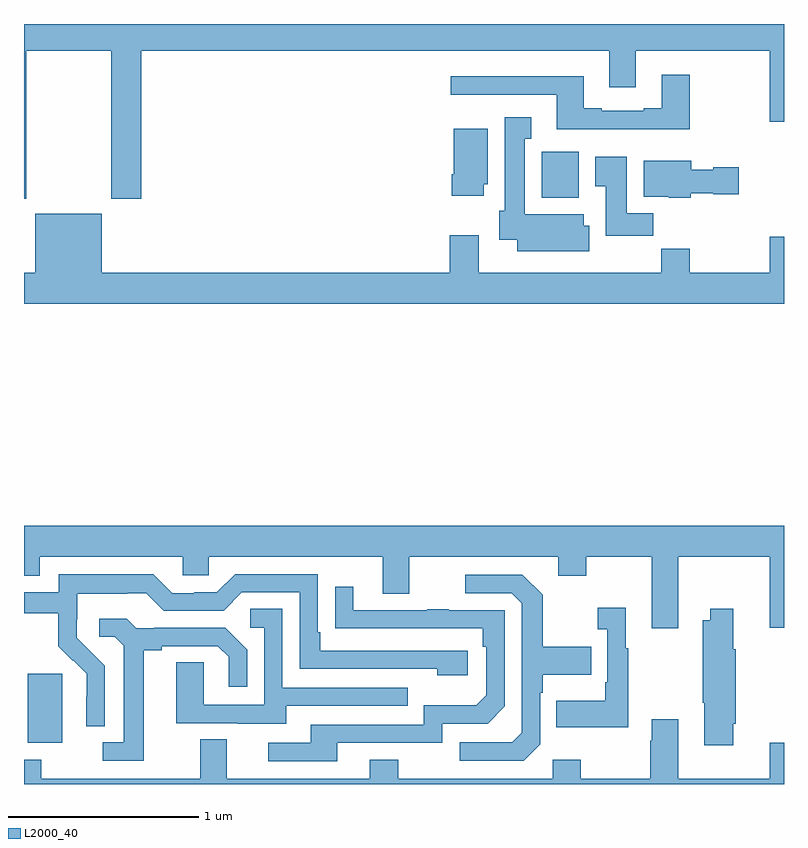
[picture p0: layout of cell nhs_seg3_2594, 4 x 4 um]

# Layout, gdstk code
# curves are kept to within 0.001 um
import gdstk
lib = gdstk.Library(unit=1e-6, precision=1e-09)
def R(c, l, rs):  # rectangles x0, y0, x1, y1
    for r in rs: c.add(gdstk.rectangle(r[:2], r[2:], *l))
def P(c, l, *ps):  # polygons
    for p in ps: c.add(gdstk.Polygon(p, *l))
L2000_40 = (2000, 40)

nhs_seg3_2594 = lib.new_cell('nhs_seg3_2594')
R(nhs_seg3_2594, L2000_40, [(245.021,686.618,245.2,686.979), (247.724,689.486,247.921,689.728)])
P(nhs_seg3_2594, L2000_40, [(245.013,690.26),(245.458,690.26),(245.458,689.481),(245.618,689.481),(245.618,690.26),(248.081,690.26),(248.081,690.066),(248.221,690.066),(248.221,690.26),(248.924,690.26),(248.924,689.886),(249,689.886),(249,690.4),(245,690.4),(245,689.481),(245.013,689.481)],
  [(248.505,690.133),(248.357,690.133),(248.357,689.956),(248.261,689.956),(248.261,689.943),(248.041,689.943),(248.041,689.956),(247.945,689.956),(247.945,690.124),(247.245,690.124),(247.245,690.027),(247.805,690.027),(247.805,689.846),(248.505,689.846)],
  [(247.975,689.339),(247.945,689.339),(247.945,689.398),(247.636,689.398),(247.636,689.795),(247.669,689.795),(247.669,689.908),(247.529,689.908),(247.529,689.418),(247.502,689.418),(247.502,689.264),(247.595,689.264),(247.595,689.204),(247.975,689.204)],
  [(247.42,689.556),(247.441,689.556),(247.441,689.848),(247.262,689.848),(247.262,689.608),(247.25,689.608),(247.25,689.496),(247.42,689.496)],
  [(248.312,689.404),(248.173,689.404),(248.173,689.701),(248.006,689.701),(248.006,689.545),(248.063,689.545),(248.063,689.286),(248.312,689.286)],
  [(248.508,689.51),(248.628,689.51),(248.628,689.503),(248.761,689.503),(248.761,689.645),(248.628,689.645),(248.628,689.632),(248.512,689.632),(248.512,689.68),(248.261,689.68),(248.261,689.492),(248.394,689.492),(248.394,689.486),(248.508,689.486)],
  [(249,689.281),(248.924,689.281),(248.924,689.092),(248.505,689.092),(248.505,689.216),(248.353,689.216),(248.353,689.092),(247.393,689.092),(247.393,689.287),(247.241,689.287),(247.241,689.092),(245.41,689.092),(245.41,689.401),(245.06,689.401),(245.06,689.092),(245,689.092),(245,688.928),(249,688.928)],
  [(248.443,687.596),(248.924,687.596),(248.924,687.222),(249,687.222),(249,687.76),(245,687.76),(245,687.497),(245.083,687.497),(245.083,687.596),(245.835,687.596),(245.835,687.498),(245.973,687.498),(245.973,687.596),(246.887,687.596),(246.887,687.402),(247.027,687.402),(247.027,687.596),(247.811,687.596),(247.811,687.497),(247.959,687.497),(247.959,687.596),(248.303,687.596),(248.303,687.219),(248.443,687.219)],
  [(245.424,687.022),(245.278,687.17),(245.278,687.267),(245.28,687.267),(245.28,687.401),(245.543,687.401),(245.543,687.405),(245.643,687.405),(245.736,687.312),(246.051,687.312),(246.147,687.408),(246.45,687.408),(246.45,687.006),(247.175,687.006),(247.175,686.972),(247.336,686.972),(247.336,687.102),(246.559,687.102),(246.559,687.199),(246.546,687.199),(246.546,687.504),(246.111,687.504),(246.015,687.408),(245.897,687.408),(245.897,687.405),(245.781,687.405),(245.681,687.505),(245.184,687.505),(245.184,687.408),(245,687.408),(245,687.3),(245.179,687.3),(245.179,687.125),(245.256,687.048),(245.259,687.051),(245.33,686.981),(245.33,686.858),(245.328,686.858),(245.328,686.704),(245.424,686.704)],
  [(247.716,686.61),(247.716,686.879),(247.729,686.879),(247.729,686.975),(247.985,686.975),(247.985,687.123),(247.729,687.123),(247.729,687.395),(247.623,687.501),(247.323,687.501),(247.323,687.405),(247.566,687.405),(247.62,687.351),(247.62,686.67),(247.569,686.619),(247.293,686.619),(247.293,686.523),(247.629,686.523)],
  [(246.649,686.616),(247.2,686.616),(247.2,686.718),(247.44,686.718),(247.53,686.808),(247.53,687.315),(247.235,687.315),(247.235,687.32),(247.123,687.32),(247.123,687.315),(246.733,687.315),(246.733,687.439),(246.637,687.439),(246.637,687.22),(247.414,687.219),(247.414,687.122),(247.434,687.122),(247.434,686.868),(247.381,686.815),(247.104,686.815),(247.104,686.712),(246.509,686.712),(246.509,686.616),(246.285,686.616),(246.285,686.52),(246.649,686.52)],
  [(248.179,687.115),(248.167,687.115),(248.167,687.328),(248.019,687.328),(248.019,687.215),(248.07,687.215),(248.07,686.935),(248.058,686.935),(248.058,686.839),(247.801,686.839),(247.801,686.699),(248.179,686.699)],
  [(246.379,686.811),(247.019,686.811),(247.019,686.907),(246.36,686.907),(246.36,687.323),(246.192,687.323),(246.192,687.222),(246.264,687.222),(246.264,686.817),(245.946,686.817),(245.946,687.041),(245.801,687.041),(245.801,686.721),(246.125,686.721),(246.125,686.717),(246.379,686.717)],
  [(248.734,686.716),(248.747,686.716),(248.747,687.109),(248.734,687.109),(248.734,687.322),(248.612,687.322),(248.612,687.262),(248.572,687.262),(248.572,686.827),(248.579,686.827),(248.579,686.604),(248.734,686.604)],
  [(245.629,687.104),(245.725,687.104),(245.725,687.126),(246.02,687.126),(246.077,687.069),(246.077,686.913),(246.174,686.913),(246.174,687.106),(246.058,687.222),(245.686,687.222),(245.686,687.219),(245.592,687.219),(245.54,687.271),(245.397,687.271),(245.397,687.174),(245.478,687.174),(245.525,687.127),(245.525,686.619),(245.415,686.619),(245.415,686.523),(245.629,686.523)],
  [(249,686.617),(248.924,686.617),(248.924,686.428),(248.443,686.428),(248.443,686.74),(248.303,686.74),(248.303,686.627),(248.296,686.627),(248.296,686.428),(247.929,686.428),(247.929,686.527),(247.782,686.527),(247.782,686.428),(246.969,686.428),(246.969,686.527),(246.821,686.527),(246.821,686.428),(246.067,686.428),(246.067,686.636),(245.927,686.636),(245.927,686.428),(245.091,686.428),(245.091,686.527),(245,686.527),(245,686.4),(249,686.4)])

lib.write_gds('nhs_seg3_2594.gds')
